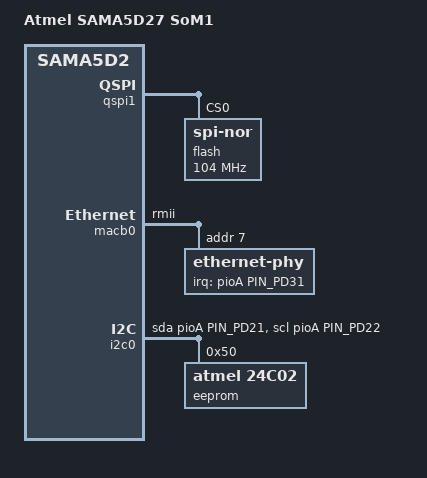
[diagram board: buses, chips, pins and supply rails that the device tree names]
// SPDX-License-Identifier: (GPL-2.0+ OR MIT)
/*
 * at91-sama5d27_som1.dtsi - Device Tree file for SAMA5D27 SoM1 board
 *
 *  Copyright (c) 2017, Microchip Technology Inc.
 *                2017 Cristian Birsan <cristian.birsan@microchip.com>
 *                2017 Claudiu Beznea <claudiu.beznea@microchip.com>
 */
#include "sama5d2.dtsi"
#include "sama5d2-pinfunc.h"
#include <dt-bindings/gpio/gpio.h>

/ {
	model = "Atmel SAMA5D27 SoM1";
	compatible = "atmel,sama5d27-som1", "atmel,sama5d27", "atmel,sama5d2", "atmel,sama5";

	aliases {
		i2c0 = &i2c0;
	};

	clocks {
		slow_xtal {
			clock-frequency = <32768>;
		};

		main_xtal {
			clock-frequency = <24000000>;
		};
	};

	ahb {
		sdmmc0: sdio-host@a0000000 {
			microchip,sdcal-inverted;
		};

		apb {
			qspi1: spi@f0024000 {
				pinctrl-names = "default";
				pinctrl-0 = <&pinctrl_qspi1_default>;

				flash@0 {
					#address-cells = <1>;
					#size-cells = <1>;
					compatible = "jedec,spi-nor";
					reg = <0>;
					spi-max-frequency = <104000000>;
					spi-cs-setup-delay-ns = <7>;
					spi-tx-bus-width = <4>;
					spi-rx-bus-width = <4>;
					m25p,fast-read;

					at91bootstrap@0 {
						label = "at91bootstrap";
						reg = <0x00000000 0x00040000>;
					};

					bootloader@40000 {
						label = "bootloader";
						reg = <0x00040000 0x000c0000>;
					};

					bootloaderenvred@100000 {
						label = "bootloader env redundant";
						reg = <0x00100000 0x00040000>;
					};

					bootloaderenv@140000 {
						label = "bootloader env";
						reg = <0x00140000 0x00040000>;
					};

					dtb@180000 {
						label = "device tree";
						reg = <0x00180000 0x00080000>;
					};

					kernel@200000 {
						label = "kernel";
						reg = <0x00200000 0x00600000>;
					};
				};
			};

			macb0: ethernet@f8008000 {
				pinctrl-names = "default";
				pinctrl-0 = <&pinctrl_macb0_default>;
				#address-cells = <1>;
				#size-cells = <0>;
				phy-mode = "rmii";

				ethernet-phy@7 {
					reg = <0x7>;
					interrupt-parent = <&pioA>;
					interrupts = <PIN_PD31 IRQ_TYPE_LEVEL_LOW>;
					pinctrl-names = "default";
					pinctrl-0 = <&pinctrl_macb0_phy_irq>;
				};
			};

			i2c0: i2c@f8028000 {
				dmas = <0>, <0>;
				pinctrl-names = "default", "gpio";
				pinctrl-0 = <&pinctrl_i2c0_default>;
				pinctrl-1 = <&pinctrl_i2c0_gpio>;
				sda-gpios = <&pioA PIN_PD21 GPIO_ACTIVE_HIGH>;
				scl-gpios = <&pioA PIN_PD22 (GPIO_ACTIVE_HIGH | GPIO_OPEN_DRAIN)>;
				status = "okay";

				eeprom@50 {
					compatible = "atmel,24c02";
					reg = <0x50>;
					pagesize = <8>;
				};
			};

			pinctrl@fc038000 {
				pinctrl_i2c0_default: i2c0_default {
					pinmux = <PIN_PD21__TWD0>,
						 <PIN_PD22__TWCK0>;
					bias-disable;
				};

				pinctrl_i2c0_gpio: i2c0_gpio {
					pinmux = <PIN_PD21__GPIO>,
						 <PIN_PD22__GPIO>;
					bias-disable;
				};

				pinctrl_qspi1_default: qspi1_default {
					sck_cs {
						pinmux = <PIN_PB5__QSPI1_SCK>,
							 <PIN_PB6__QSPI1_CS>;
						bias-disable;
					};

					data {
						pinmux = <PIN_PB7__QSPI1_IO0>,
							 <PIN_PB8__QSPI1_IO1>,
							 <PIN_PB9__QSPI1_IO2>,
							 <PIN_PB10__QSPI1_IO3>;
						bias-pull-up;
					};
				};

				pinctrl_macb0_default: macb0_default {
					pinmux = <PIN_PD9__GTXCK>,
						 <PIN_PD10__GTXEN>,
						 <PIN_PD11__GRXDV>,
						 <PIN_PD12__GRXER>,
						 <PIN_PD13__GRX0>,
						 <PIN_PD14__GRX1>,
						 <PIN_PD15__GTX0>,
						 <PIN_PD16__GTX1>,
						 <PIN_PD17__GMDC>,
						 <PIN_PD18__GMDIO>;
					bias-disable;
				};

				pinctrl_macb0_phy_irq: macb0_phy_irq {
					pinmux = <PIN_PD31__GPIO>;
					bias-disable;
				};
			};
		};
	};
};
